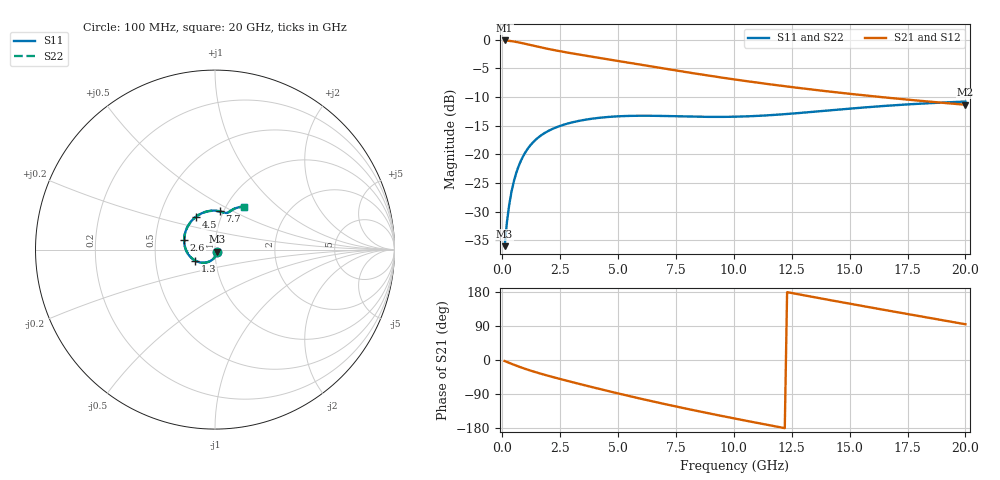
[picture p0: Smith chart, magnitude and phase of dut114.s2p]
! Touchstone file exported from HFSS 2023.1.0
!  File:  D:/Users/fzz/RDL_TSV/temp_RDL_TSV_114_1778749993.aedt
!  Generated:  5:25:09 %x4E0B%x5348  5%x6708 14, 2026
!  Design:  RDL_TSV
!  Project:  temp_RDL_TSV_114_1778749993
!  Setup:  Setup1
!  Solution:  Sweep
! Variables:
!  dtsv = 21.38um
!  hbump = 3um
!  htsv = 85.7um
!  ldown = 326.18um
!  lrdl = 590.56um
!  p = 40
!  p1 = 49.81um
!  rhole = 10um
!  subl = 3340.78um
!  t = 450um
!  tdown = 4.51um
!  trdl = 4.57um
!  viad = 10um
!  wdown = 22.02um
!  wrdl = 25.69um
!  xbump = 18um
# GHz S MA R 50.000000
! Terminal data exported
! Port[1] = TM1_1_T1
! Port[2] = TM1_4_T1
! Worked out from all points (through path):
!   200 points, 100 MHz to 20 GHz, reference 50 ohm
!   highest |S21| = -0.11 dB at 100 MHz (marker M1); lowest = -11.3 dB at 20 GHz (marker M2)
!   group delay of S21, straight-line fit = 35.1 ps
!   lowest |S11| = -36.0 dB at 100 MHz (marker M3), VSWR 1.03, Z = 51 - j1.23 ohm
!   |S11| at or under -10 dB: start of sweep to end of sweep
!   |S22| runs from -36.0 to -10.8 dB; largest |S21 - S12| = 1.6e-14
!   S11 on the Smith chart (normalised r, x): 100 MHz: 1.02, -0.02; 1.3 GHz: 0.80, -0.10; 2.6 GHz: 0.70, +0.08; 4.5 GHz: 0.76, +0.29; 7.7 GHz: 0.96, +0.43; 20 GHz: 1.21, +0.63
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0.1  0.01584 -49.6  0.9876 -2.6  0.9876 -2.6  0.01584 -49.6
! Gamma 0 0 0 0
! Port Impedance 50 0 50 0
0.2  0.0256 -73.0  0.9842 -5.2  0.9842 -5.2  0.02561 -73.0
0.3  0.03653 -86.6  0.9795 -7.7  0.9795 -7.7  0.03653 -86.6
0.5  0.05831 -105.0  0.9667 -12.5  0.9667 -12.5  0.05831 -104.9
0.8  0.08777 -125.0  0.9414 -19.3  0.9414 -19.3  0.08776 -124.9
1  0.1046 -136.1  0.9222 -23.6  0.9222 -23.6  0.1046 -136.1
1.3  0.1259 -150.8  0.893 -29.5  0.893 -29.5  0.1259 -150.7
1.9  0.1569 -175.1  0.8396 -40.3  0.8396 -40.3  0.1568 -175.0
2.6  0.1804 162.3  0.7882 -51.7  0.7882 -51.7  0.1802 162.4
3.5  0.1996 139.5  0.7332 -65.8  0.7332 -65.8  0.1993 139.6
4.5  0.2118 119.6  0.6791 -80.9  0.6791 -80.9  0.2113 119.7
5.7  0.2174 101.7  0.6195 -98.2  0.6195 -98.2  0.2167 101.8
6.8  0.217 89.8  0.5694 -113.4  0.5694 -113.4  0.2162 90.0
7.7  0.215 82.9  0.5321 -125.3  0.5321 -125.3  0.214 83.0
8.9  0.2128 76.7  0.4877 -140.5  0.4877 -140.5  0.2118 76.9
10.1  0.2136 73.0  0.4492 -155.2  0.4492 -155.2  0.2126 73.2
11.6  0.2203 70.2  0.4083 -172.9  0.4083 -172.9  0.2195 70.5
13.4  0.2352 67.5  0.3679 166.5  0.3679 166.5  0.2346 67.7
15  0.251 64.8  0.3383 148.6  0.3383 148.6  0.2504 65.0
16.7  0.2668 61.5  0.3118 130.0  0.3118 130.0  0.2663 61.7
18.3  0.2791 58.6  0.2907 112.7  0.2907 112.7  0.2786 58.7
20  0.2893 55.8  0.2716 94.4  0.2716 94.4  0.2888 55.9
